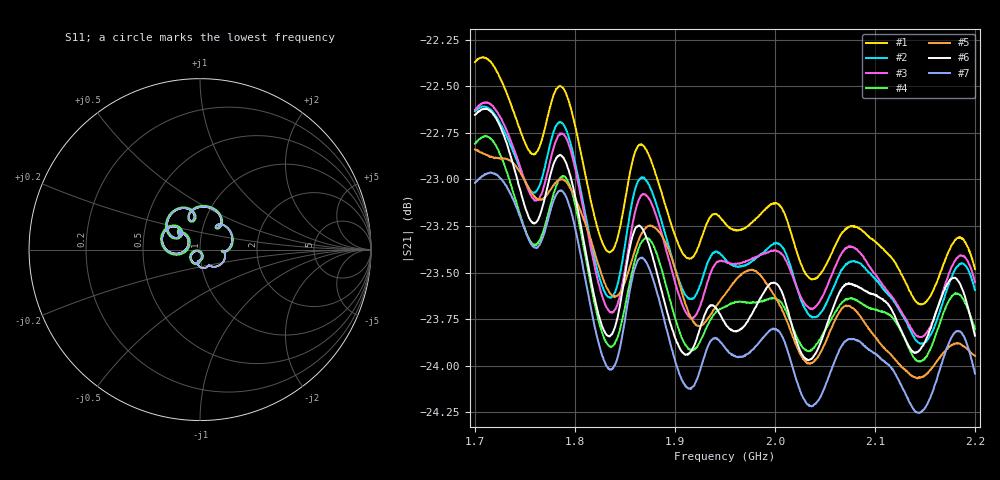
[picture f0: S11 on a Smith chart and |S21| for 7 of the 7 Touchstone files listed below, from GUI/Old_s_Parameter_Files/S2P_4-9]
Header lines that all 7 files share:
# Hz S RI R 50
! CMT, CMT808U, 21440046, 21.4.3/4
! Data: Format (Calibration Info)
! Freq	S11:Re/Im(F2)	S41:Re/Im(F2)	S14:Re/Im(F2)	S44:Re/Im(F2)
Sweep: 1.7 GHz to 2.2 GHz
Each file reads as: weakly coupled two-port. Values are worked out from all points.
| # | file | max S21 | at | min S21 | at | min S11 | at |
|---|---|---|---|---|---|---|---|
| 1 | Port6.s2p | -22.34 dB | 1.707 GHz | -23.7 dB | 2.146 GHz | -37.7 dB | 2.179 GHz |
| 2 | Port7.s2p | -22.61 dB | 1.71 GHz | -23.9 dB | 2.147 GHz | -37.6 dB | 2.179 GHz |
| 3 | Port8.s2p | -22.59 dB | 1.712 GHz | -23.8 dB | 2.146 GHz | -37.5 dB | 2.179 GHz |
| 4 | Port9.s2p | -22.77 dB | 1.71 GHz | -24.0 dB | 2.146 GHz | -43.9 dB | 2.179 GHz |
| 5 | Port10.s2p | -22.84 dB | 1.7 GHz | -24.1 dB | 2.143 GHz | -37.8 dB | 2.179 GHz |
| 6 | Port13.s2p | -22.62 dB | 1.71 GHz | -24.0 dB | 2.034 GHz | -37.4 dB | 2.179 GHz |
| 7 | Port15.s2p | -22.96 dB | 1.716 GHz | -24.3 dB | 2.144 GHz | -38.1 dB | 2.179 GHz |
